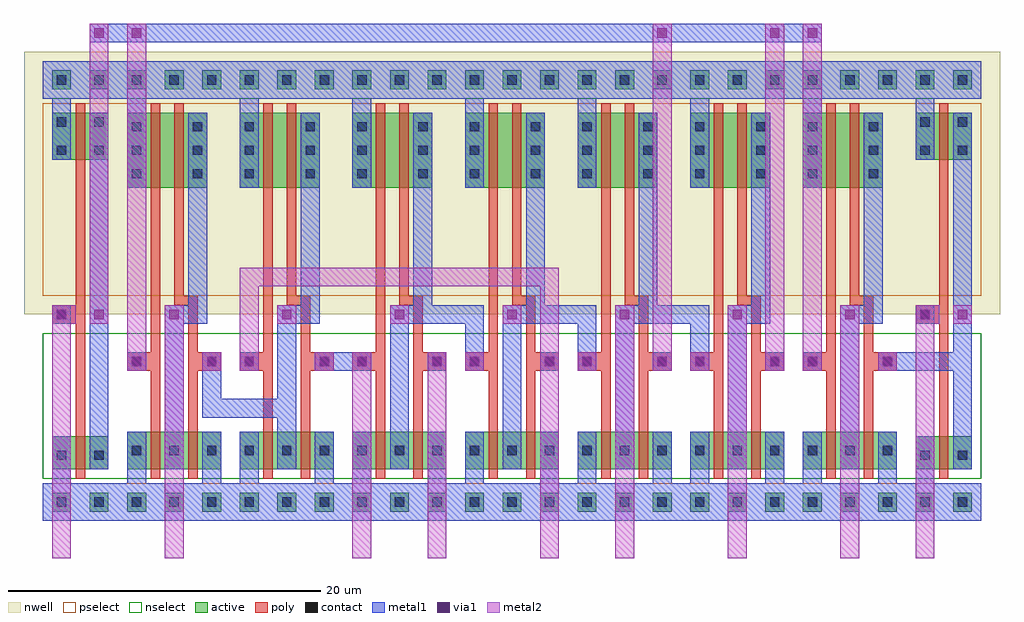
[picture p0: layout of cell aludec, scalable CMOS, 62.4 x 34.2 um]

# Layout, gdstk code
import gdstk
lib = gdstk.Library(unit=1e-6, precision=1e-09)
def R(c, l, rs):  # rectangles x0, y0, x1, y1
    for r in rs: c.add(gdstk.rectangle(r[:2], r[2:], *l))
def A(c, l, x, y, w, h, nx, ny, dx, dy):  # array of equal rectangles
    R(c, l, [(x+i*dx, y+j*dy, x+i*dx+w, y+j*dy+h) for i in range(nx) for j in range(ny)])
def P(c, l, *ps):  # polygons
    for p in ps: c.add(gdstk.Polygon(p, *l))
contact = (25, 0)
nwell = (42, 0)
active = (43, 0)
pselect = (44, 0)
nselect = (45, 0)
poly = (46, 0)
metal1 = (49, 0)
via1 = (50, 0)
metal2 = (51, 0)

nor2_1x = lib.new_cell('nor2_1x')
A(nor2_1x, contact, 0.9, -0.3, 0.6, 0.6, 3, 2, 2.4, 3.3)
A(nor2_1x, contact, 0.9, 20.7, 0.6, 0.6, 1, 3, 0, 1.5)
A(nor2_1x, contact, 4.8, 20.7, 0.6, 0.6, 1, 3, 0, 1.5)
A(nor2_1x, contact, 0.9, 26.7, 0.6, 0.6, 3, 1, 2.4, 0)
R(nor2_1x, contact, [(0.9,8.7,1.5,9.3), (5.7,8.7,6.3,9.3)])
R(nor2_1x, nwell, [(-1.2,12,8.4,28.8)])
A(nor2_1x, active, 0.6, -0.6, 1.2, 1.2, 3, 2, 2.4, 27)
R(nor2_1x, active, [(0.6,2.1,6.6,4.5), (0.6,20.1,5.7,24.9)])
R(nor2_1x, pselect, [(0,-1.2,7.2,1.2), (0,13.2,7.2,25.5)])
R(nor2_1x, nselect, [(0,1.5,7.2,10.8), (0,25.8,7.2,28.2)])
R(nor2_1x, poly, [(2.1,1.5,2.7,25.5), (0.6,8.4,2.1,9.6), (5.1,8.4,6.6,9.6)])
P(nor2_1x, poly, [(5.1,13.2),(4.2,13.2),(4.2,25.5),(3.6,25.5),(3.6,12.6),(4.5,12.6),(4.5,1.5),(5.1,1.5)])
R(nor2_1x, metal1, [(0,-1.2,7.2,1.2), (0.6,8.4,1.8,9.6), (5.4,8.4,6.6,9.6), (0,25.8,7.2,28.2)])
P(nor2_1x, metal1, [(5.7,24.9),(4.5,24.9),(4.5,12.6),(3,12.6),(3,2.1),(4.2,2.1),(4.2,11.4),(5.7,11.4)],
  [(7.2,28.2),(0,28.2),(0,25.8),(0.6,25.8),(0.6,20.1),(1.8,20.1),(1.8,25.8),(7.2,25.8)],
  [(7.2,1.2),(6.6,1.2),(6.6,4.5),(5.4,4.5),(5.4,1.2),(1.8,1.2),(1.8,4.5),(0.6,4.5),(0.6,1.2),(0,1.2),(0,-1.2),(7.2,-1.2)])
R(nor2_1x, via1, [(0.9,8.7,1.5,9.3), (5.7,8.7,6.3,9.3), (3.3,11.7,3.9,12.3)])
R(nor2_1x, metal2, [(0.6,8.4,1.8,9.6), (5.4,8.4,6.6,9.6), (3,11.4,4.2,12.6)])

inv_1x = lib.new_cell('inv_1x')
R(inv_1x, contact, [(0.9,-0.3,1.5,0.3), (3.3,-0.3,3.9,0.3), (0.9,2.7,1.5,3.3), (3.3,2.7,3.9,3.3), (0.9,11.7,1.5,12.3), (0.9,22.2,1.5,22.8), (3.3,22.2,3.9,22.8), (0.9,24,1.5,24.6), (3.3,24,3.9,24.6), (0.9,26.7,1.5,27.3), (3.3,26.7,3.9,27.3)])
R(inv_1x, nwell, [(-1.2,12,6,28.8)])
R(inv_1x, active, [(0.6,-0.6,1.8,0.6), (3,-0.6,4.2,0.6), (0.6,2.1,4.2,4.2), (0.6,21.9,4.2,24.9), (0.6,26.4,1.8,27.6), (3,26.4,4.2,27.6)])
R(inv_1x, pselect, [(0,-1.2,4.8,1.2), (0,13.2,4.8,25.5)])
R(inv_1x, nselect, [(0,1.5,4.8,10.8), (0,25.8,4.8,28.2)])
R(inv_1x, poly, [(2.1,1.5,2.7,25.5), (0.6,11.4,2.1,12.6)])
R(inv_1x, metal1, [(0,-1.2,4.8,1.2), (0,-1.2,4.8,1.2), (0.6,1.2,1.8,4.2), (3,2.1,4.2,24.9), (0.6,11.4,1.8,12.6), (0.6,21.9,1.8,25.8), (0,25.8,4.8,28.2), (0,25.8,4.8,28.2)])
R(inv_1x, via1, [(0.9,11.7,1.5,12.3), (3.3,11.7,3.9,12.3)])
R(inv_1x, metal2, [(0.6,11.4,1.8,12.6), (0.6,11.4,1.8,12.6), (0.6,11.4,1.8,12.6), (0.9,11.4,2.1,12.6), (3,11.4,4.2,12.6), (3,11.4,4.2,12.6)])

aludec = lib.new_cell('aludec')
A(aludec, metal1, 27, 9.6, 1.2, 4.2, 3, 1, 7.2, 0)
A(aludec, metal1, 24.9, 12.6, 3.3, 1.2, 3, 1, 7.2, 0)
R(aludec, metal1, [(10.2,6.6,16.2,7.8), (10.2,6.6,11.4,10.8), (17.4,9.6,21,10.8), (53.4,9.6,59.4,10.8), (3,30.6,49.8,31.8)])
R(aludec, via1, [(3.3,30.9,3.9,31.5), (5.7,30.9,6.3,31.5), (39.3,30.9,39.9,31.5), (46.5,30.9,47.1,31.5), (48.9,30.9,49.5,31.5)])
A(aludec, metal2, 36.6, -2.4, 1.2, 16.2, 3, 1, 7.2, 0)
A(aludec, metal2, 36.6, -2.4, 1.2, 1.2, 3, 1, 7.2, 0)
R(aludec, metal2, [(0.6,-2.4,1.8,13.8), (0.6,-2.4,1.8,-1.2), (7.8,-2.4,9,13.8), (7.8,-2.4,9,-1.2), (19.8,-2.4,21,10.8), (19.8,-2.4,21,-1.2), (24.6,-2.4,25.8,10.8), (24.6,-2.4,25.8,-1.2), (31.8,-2.4,33,10.8), (31.8,-2.4,33,-1.2), (55.8,-2.4,57,13.8), (55.8,-2.4,57,-1.2), (5.4,9.6,6.6,31.8), (12.6,9.6,13.8,16.2), (31.8,9.6,33,16.2), (39,9.6,40.2,31.8), (46.2,9.6,47.4,31.8), (48.6,9.6,49.8,31.8), (3,12.6,4.2,31.8), (12.6,15,33,16.2)])
aludec.add(gdstk.Reference(nor2_1x, (12,1.2)))
aludec.add(gdstk.Reference(nor2_1x, (4.8,1.2)))
aludec.add(gdstk.Reference(nor2_1x, (48,1.2)))
aludec.add(gdstk.Reference(nor2_1x, (40.8,1.2)))
aludec.add(gdstk.Reference(nor2_1x, (33.6,1.2)))
aludec.add(gdstk.Reference(nor2_1x, (26.4,1.2)))
aludec.add(gdstk.Reference(nor2_1x, (19.2,1.2)))
aludec.add(gdstk.Reference(inv_1x, (0,1.2)))
aludec.add(gdstk.Reference(inv_1x, (55.2,1.2)))

lib.write_gds('aludec.gds')
